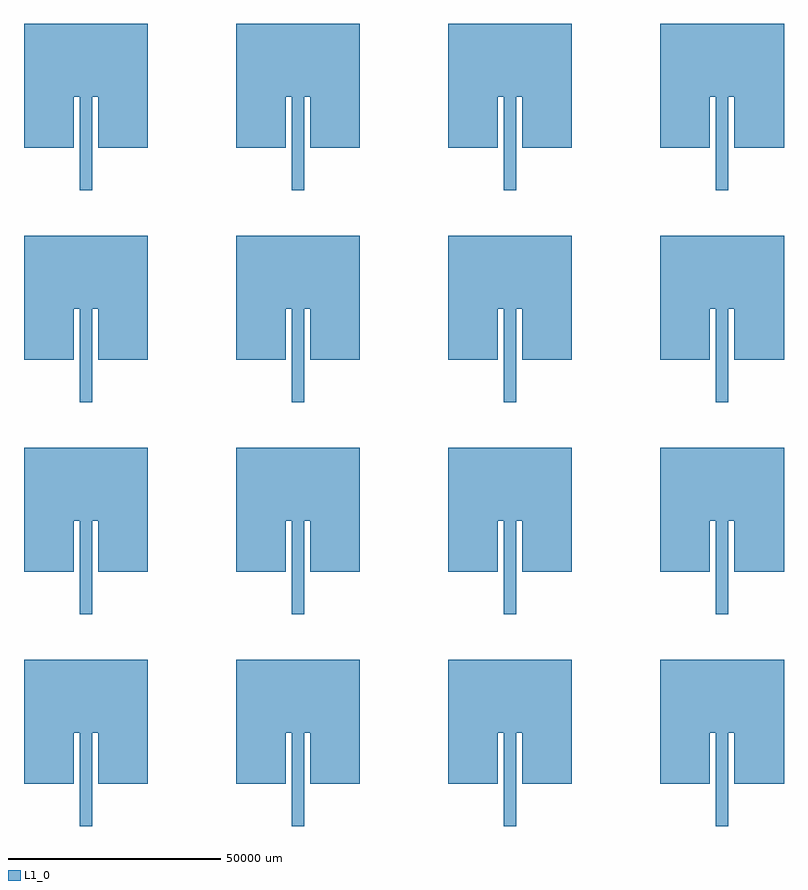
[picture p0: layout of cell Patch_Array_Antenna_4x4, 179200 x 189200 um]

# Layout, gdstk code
import gdstk
lib = gdstk.Library(unit=1e-6, precision=1e-09)
def P(c, l, *ps):  # polygons
    for p in ps: c.add(gdstk.Polygon(p, *l))
L1_0 = (1, 0)

patch_array_antenna_4x4 = lib.new_cell('Patch_Array_Antenna_4x4')
P(patch_array_antenna_4x4, L1_0, [(-14600,10000),(-14600,39200),(14600,39200),(14600,10000),(2900,10000),(2900,22000),(1500,22000),(1500,0),(-1500,0),(-1500,22000),(-2900,22000),(-2900,10000)],
  [(35400,10000),(35400,39200),(64600,39200),(64600,10000),(52900,10000),(52900,22000),(51500,22000),(51500,0),(48500,0),(48500,22000),(47100,22000),(47100,10000)],
  [(85400,10000),(85400,39200),(114600,39200),(114600,10000),(102900,10000),(102900,22000),(101500,22000),(101500,0),(98500,0),(98500,22000),(97100,22000),(97100,10000)],
  [(135400,10000),(135400,39200),(164600,39200),(164600,10000),(152900,10000),(152900,22000),(151500,22000),(151500,0),(148500,0),(148500,22000),(147100,22000),(147100,10000)],
  [(-14600,-40000),(-14600,-10800),(14600,-10800),(14600,-40000),(2900,-40000),(2900,-28000),(1500,-28000),(1500,-50000),(-1500,-50000),(-1500,-28000),(-2900,-28000),(-2900,-40000)],
  [(35400,-40000),(35400,-10800),(64600,-10800),(64600,-40000),(52900,-40000),(52900,-28000),(51500,-28000),(51500,-50000),(48500,-50000),(48500,-28000),(47100,-28000),(47100,-40000)],
  [(85400,-40000),(85400,-10800),(114600,-10800),(114600,-40000),(102900,-40000),(102900,-28000),(101500,-28000),(101500,-50000),(98500,-50000),(98500,-28000),(97100,-28000),(97100,-40000)],
  [(135400,-40000),(135400,-10800),(164600,-10800),(164600,-40000),(152900,-40000),(152900,-28000),(151500,-28000),(151500,-50000),(148500,-50000),(148500,-28000),(147100,-28000),(147100,-40000)],
  [(-14600,-90000),(-14600,-60800),(14600,-60800),(14600,-90000),(2900,-90000),(2900,-78000),(1500,-78000),(1500,-100000),(-1500,-100000),(-1500,-78000),(-2900,-78000),(-2900,-90000)],
  [(35400,-90000),(35400,-60800),(64600,-60800),(64600,-90000),(52900,-90000),(52900,-78000),(51500,-78000),(51500,-100000),(48500,-100000),(48500,-78000),(47100,-78000),(47100,-90000)],
  [(85400,-90000),(85400,-60800),(114600,-60800),(114600,-90000),(102900,-90000),(102900,-78000),(101500,-78000),(101500,-100000),(98500,-100000),(98500,-78000),(97100,-78000),(97100,-90000)],
  [(135400,-90000),(135400,-60800),(164600,-60800),(164600,-90000),(152900,-90000),(152900,-78000),(151500,-78000),(151500,-100000),(148500,-100000),(148500,-78000),(147100,-78000),(147100,-90000)],
  [(-14600,-140000),(-14600,-110800),(14600,-110800),(14600,-140000),(2900,-140000),(2900,-128000),(1500,-128000),(1500,-150000),(-1500,-150000),(-1500,-128000),(-2900,-128000),(-2900,-140000)],
  [(35400,-140000),(35400,-110800),(64600,-110800),(64600,-140000),(52900,-140000),(52900,-128000),(51500,-128000),(51500,-150000),(48500,-150000),(48500,-128000),(47100,-128000),(47100,-140000)],
  [(85400,-140000),(85400,-110800),(114600,-110800),(114600,-140000),(102900,-140000),(102900,-128000),(101500,-128000),(101500,-150000),(98500,-150000),(98500,-128000),(97100,-128000),(97100,-140000)],
  [(135400,-140000),(135400,-110800),(164600,-110800),(164600,-140000),(152900,-140000),(152900,-128000),(151500,-128000),(151500,-150000),(148500,-150000),(148500,-128000),(147100,-128000),(147100,-140000)])

lib.write_gds('Patch_Array_Antenna_4x4.gds')
